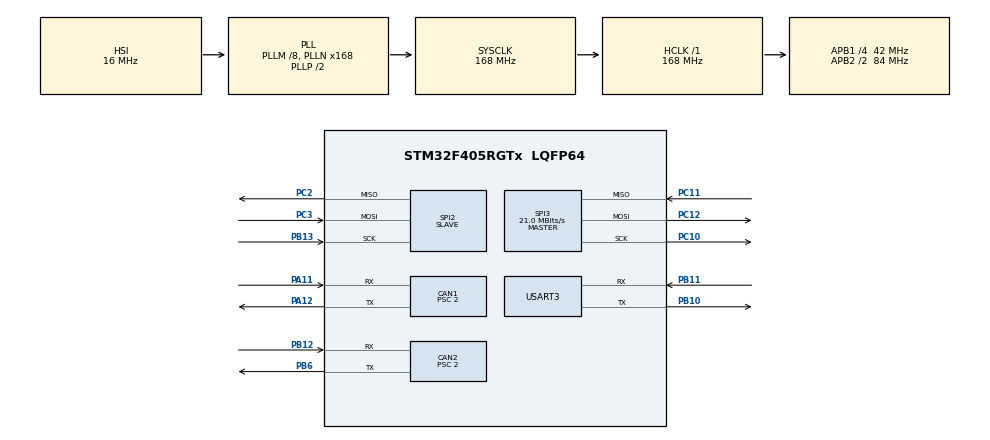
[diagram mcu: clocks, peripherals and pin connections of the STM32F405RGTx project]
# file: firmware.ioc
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CAN1.BS1=CAN_BS1_14TQ
CAN1.BS2=CAN_BS2_6TQ
CAN1.CalculateBaudRate=1000000
CAN1.CalculateTimeBit=1000
CAN1.CalculateTimeQuantum=47.61904761904762
CAN1.Prescaler=2
CAN1.SJW=CAN_SJW_1TQ
CAN2.BS1=CAN_BS1_14TQ
CAN2.BS2=CAN_BS2_6TQ
CAN2.CalculateBaudRate=1000000
CAN2.CalculateTimeBit=1000
CAN2.CalculateTimeQuantum=47.61904761904762
CAN2.Prescaler=2
Dma.Request0=SPI3_RX
Dma.Request1=SPI3_TX
Dma.Request2=USART3_RX
Dma.Request3=USART3_TX
Dma.SPI3_RX.0.Direction=DMA_PERIPH_TO_MEMORY
Dma.SPI3_RX.0.FIFOMode=DMA_FIFOMODE_ENABLE
Dma.SPI3_RX.0.FIFOThreshold=DMA_FIFO_THRESHOLD_FULL
Dma.SPI3_RX.0.Instance=DMA1_Stream0
Dma.SPI3_RX.0.MemBurst=DMA_MBURST_SINGLE
Dma.SPI3_RX.0.MemDataAlignment=DMA_MDATAALIGN_BYTE
Dma.SPI3_RX.0.MemInc=DMA_MINC_ENABLE
Dma.SPI3_RX.0.Mode=DMA_NORMAL
Dma.SPI3_RX.0.PeriphBurst=DMA_PBURST_SINGLE
Dma.SPI3_RX.0.PeriphDataAlignment=DMA_PDATAALIGN_BYTE
Dma.SPI3_RX.0.PeriphInc=DMA_PINC_DISABLE
Dma.SPI3_RX.0.Priority=DMA_PRIORITY_LOW
Dma.SPI3_TX.1.Direction=DMA_MEMORY_TO_PERIPH
Dma.SPI3_TX.1.FIFOMode=DMA_FIFOMODE_DISABLE
Dma.SPI3_TX.1.Instance=DMA1_Stream5
Dma.SPI3_TX.1.MemDataAlignment=DMA_MDATAALIGN_BYTE
Dma.SPI3_TX.1.MemInc=DMA_MINC_ENABLE
Dma.SPI3_TX.1.Mode=DMA_NORMAL
Dma.SPI3_TX.1.PeriphDataAlignment=DMA_PDATAALIGN_BYTE
Dma.SPI3_TX.1.PeriphInc=DMA_PINC_DISABLE
Dma.SPI3_TX.1.Priority=DMA_PRIORITY_LOW
Dma.USART3_RX.2.Direction=DMA_PERIPH_TO_MEMORY
Dma.USART3_RX.2.FIFOMode=DMA_FIFOMODE_DISABLE
Dma.USART3_RX.2.Instance=DMA1_Stream1
Dma.USART3_RX.2.MemDataAlignment=DMA_MDATAALIGN_BYTE
Dma.USART3_RX.2.MemInc=DMA_MINC_ENABLE
Dma.USART3_RX.2.Mode=DMA_NORMAL
Dma.USART3_RX.2.PeriphDataAlignment=DMA_PDATAALIGN_BYTE
Dma.USART3_RX.2.PeriphInc=DMA_PINC_DISABLE
Dma.USART3_RX.2.Priority=DMA_PRIORITY_LOW
Dma.USART3_TX.3.Direction=DMA_MEMORY_TO_PERIPH
Dma.USART3_TX.3.FIFOMode=DMA_FIFOMODE_DISABLE
Dma.USART3_TX.3.Instance=DMA1_Stream3
Dma.USART3_TX.3.MemDataAlignment=DMA_MDATAALIGN_BYTE
Dma.USART3_TX.3.MemInc=DMA_MINC_ENABLE
Dma.USART3_TX.3.Mode=DMA_NORMAL
Dma.USART3_TX.3.PeriphDataAlignment=DMA_PDATAALIGN_BYTE
Dma.USART3_TX.3.PeriphInc=DMA_PINC_DISABLE
Dma.USART3_TX.3.Priority=DMA_PRIORITY_LOW
Mcu.Family=STM32F4
Mcu.Name=STM32F405RGTx
Mcu.Package=LQFP64
NVIC.CAN1_RX0_IRQn=true\:0\:0\:false\:false\:true\:true\:true\:true
NVIC.CAN1_RX1_IRQn=true\:0\:0\:false\:false\:true\:true\:true\:true
NVIC.CAN1_SCE_IRQn=true\:0\:0\:false\:false\:true\:true\:true\:true
NVIC.CAN1_TX_IRQn=true\:0\:0\:false\:false\:true\:true\:true\:true
NVIC.CAN2_RX0_IRQn=true\:0\:0\:false\:false\:true\:true\:true\:true
NVIC.CAN2_RX1_IRQn=true\:0\:0\:false\:false\:true\:true\:true\:true
NVIC.CAN2_SCE_IRQn=true\:0\:0\:false\:false\:true\:true\:true\:true
NVIC.CAN2_TX_IRQn=true\:0\:0\:false\:false\:true\:true\:true\:true
NVIC.DMA1_Stream0_IRQn=true\:0\:0\:false\:false\:true\:false\:true\:true
NVIC.DMA1_Stream1_IRQn=true\:0\:0\:false\:false\:true\:false\:true\:true
NVIC.DMA1_Stream3_IRQn=true\:0\:0\:false\:false\:true\:false\:true\:true
NVIC.DMA1_Stream5_IRQn=true\:0\:0\:false\:false\:true\:false\:true\:true
NVIC.PriorityGroup=NVIC_PRIORITYGROUP_4
NVIC.SPI2_IRQn=true\:0\:0\:false\:false\:true\:true\:true\:true
NVIC.SPI3_IRQn=true\:0\:0\:false\:false\:true\:true\:true\:true
NVIC.USART3_IRQn=true\:0\:0\:false\:false\:true\:true\:true\:true
PA11.Mode=CAN_Activate
PA11.Signal=CAN1_RX
PA12.Mode=CAN_Activate
PA12.Signal=CAN1_TX
PB10.Mode=Asynchronous
PB10.Signal=USART3_TX
PB11.Mode=Asynchronous
PB11.Signal=USART3_RX
PB12.Mode=CAN_Activate
PB12.Signal=CAN2_RX
PB13.Mode=Full_Duplex_Slave
PB13.Signal=SPI2_SCK
PB6.Mode=CAN_Activate
PB6.Signal=CAN2_TX
PC10.Mode=Full_Duplex_Master
PC10.Signal=SPI3_SCK
PC11.Mode=Full_Duplex_Master
PC11.Signal=SPI3_MISO
PC12.Mode=Full_Duplex_Master
PC12.Signal=SPI3_MOSI
PC2.Mode=Full_Duplex_Slave
PC2.Signal=SPI2_MISO
PC3.Mode=Full_Duplex_Slave
PC3.Signal=SPI2_MOSI
ProjectManager.HeapSize=0x200
ProjectManager.StackSize=0x400
ProjectManager.TargetToolchain=CMake
RCC.48MHZClocksFreq_Value=84000000
RCC.AHBFreq_Value=168000000
RCC.APB1CLKDivider=RCC_HCLK_DIV4
RCC.APB1Freq_Value=42000000
RCC.APB1TimFreq_Value=84000000
RCC.APB2CLKDivider=RCC_HCLK_DIV2
RCC.APB2Freq_Value=84000000
RCC.APB2TimFreq_Value=168000000
RCC.CortexFreq_Value=168000000
RCC.HCLKFreq_Value=168000000
RCC.HSE_VALUE=25000000
RCC.HSI_VALUE=16000000
RCC.LSE_VALUE=32768
RCC.PLLM=8
RCC.PLLN=168
RCC.SYSCLKFreq_VALUE=168000000
RCC.SYSCLKSource=RCC_SYSCLKSOURCE_PLLCLK
RCC.VCOOutputFreq_Value=336000000
SPI2.Direction=SPI_DIRECTION_2LINES
SPI2.Mode=SPI_MODE_SLAVE
SPI2.VirtualType=VM_SLAVE
SPI3.BaudRatePrescaler=SPI_BAUDRATEPRESCALER_2
SPI3.CalculateBaudRate=21.0 MBits/s
SPI3.DataSize=SPI_DATASIZE_8BIT
SPI3.Direction=SPI_DIRECTION_2LINES
SPI3.Mode=SPI_MODE_MASTER
SPI3.VirtualType=VM_MASTER
USART3.VirtualMode=VM_ASYNC
board=custom

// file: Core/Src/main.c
/* USER CODE BEGIN Header */
/**
  ******************************************************************************
  * @file           : main.c
  * @brief          : Main program body
  ******************************************************************************
  * @attention
  *
  * Copyright (c) 2025 STMicroelectronics.
  * All rights reserved.
  *
  * This software is licensed under terms that can be found in the LICENSE file
  * in the root directory of this software component.
  * If no LICENSE file comes with this software, it is provided AS-IS.
  *
  ******************************************************************************
  */
/* USER CODE END Header */
#include "main.h"
#include "../Inc/can.h"
#include "../Inc/time.h"

CAN_HandleTypeDef hcan1;
CAN_HandleTypeDef hcan2;

SPI_HandleTypeDef hspi2;
SPI_HandleTypeDef hspi3;
DMA_HandleTypeDef hdma_spi3_rx;
DMA_HandleTypeDef hdma_spi3_tx;

UART_HandleTypeDef huart3;
DMA_HandleTypeDef hdma_usart3_rx;
DMA_HandleTypeDef hdma_usart3_tx;

void SystemClock_Config(void);
static void MX_GPIO_Init(void);
static void MX_DMA_Init(void);
static void MX_CAN1_Init(void);
static void MX_CAN2_Init(void);
static void MX_SPI2_Init(void);
static void MX_SPI3_Init(void);
static void MX_USART3_UART_Init(void);

/* USER CODE BEGIN 0 */

int main(void)
{

  /* MCU Configuration--------------------------------------------------------*/

  /* Reset of all peripherals, Initializes the Flash interface and the Systick. */
  HAL_Init();

  /* USER CODE BEGIN Init */
  CAN_motor_init();
  /* USER CODE END Init */

  /* Configure the system clock */
  SystemClock_Config();

  /* Initialize all configured peripherals */
  MX_GPIO_Init();
  MX_DMA_Init();
  MX_CAN1_Init();
  MX_CAN2_Init();
  MX_SPI2_Init();
  MX_SPI3_Init();
  MX_USART3_UART_Init();
  /* USER CODE BEGIN 2 */
  HAL_UART_MspInit(&huart3);
  __HAL_UART_ENABLE_IT(&huart3, UART_IT_IDLE);
  /* USER CODE END 2 */
  /* Infinite loop */
  /* USER CODE BEGIN WHILE */
  typedef struct
  {
    float can_task;
    float posforce_task;
    float robot_est_task;
    float ahrs_task;
    float vmc_task;
    float link_task;
    float nav_task;
    float system_task;
  }_SYSTEM_DT;
  float leg_dt[100];
  _SYSTEM_DT system_dt;
  while (1)
  {
    /* USER CODE END WHILE */
    /* USER CODE BEGIN 3 */
    system_dt.can_task = leg_dt[0] = Get_Cycle_T(0);
    if(leg_dt[0]>0.00225)
      can_rx_over[4]++;

    CAN_motor_sm(leg_dt[0]);
  }
  /* USER CODE END 3 */
}

void SystemClock_Config(void)
{
  RCC_OscInitTypeDef RCC_OscInitStruct = {0};
  RCC_ClkInitTypeDef RCC_ClkInitStruct = {0};

  /** Configure the main internal regulator output voltage
  */
  __HAL_RCC_PWR_CLK_ENABLE();
  __HAL_PWR_VOLTAGESCALING_CONFIG(PWR_REGULATOR_VOLTAGE_SCALE1);

  /** Initializes the RCC Oscillators according to the specified parameters
  * in the RCC_OscInitTypeDef structure.
  */
  RCC_OscInitStruct.OscillatorType = RCC_OSCILLATORTYPE_HSI;
  RCC_OscInitStruct.HSIState = RCC_HSI_ON;
  RCC_OscInitStruct.HSICalibrationValue = RCC_HSICALIBRATION_DEFAULT;
  RCC_OscInitStruct.PLL.PLLState = RCC_PLL_ON;
  RCC_OscInitStruct.PLL.PLLSource = RCC_PLLSOURCE_HSI;
  RCC_OscInitStruct.PLL.PLLM = 8;
  RCC_OscInitStruct.PLL.PLLN = 168;
  RCC_OscInitStruct.PLL.PLLP = RCC_PLLP_DIV2;
  RCC_OscInitStruct.PLL.PLLQ = 4;
  if (HAL_RCC_OscConfig(&RCC_OscInitStruct) != HAL_OK)
  {
    Error_Handler();
  }

  /** Initializes the CPU, AHB and APB buses clocks
  */
  RCC_ClkInitStruct.ClockType = RCC_CLOCKTYPE_HCLK|RCC_CLOCKTYPE_SYSCLK
                              |RCC_CLOCKTYPE_PCLK1|RCC_CLOCKTYPE_PCLK2;
  RCC_ClkInitStruct.SYSCLKSource = RCC_SYSCLKSOURCE_PLLCLK;
  RCC_ClkInitStruct.AHBCLKDivider = RCC_SYSCLK_DIV1;
  RCC_ClkInitStruct.APB1CLKDivider = RCC_HCLK_DIV4;
  RCC_ClkInitStruct.APB2CLKDivider = RCC_HCLK_DIV2;

  if (HAL_RCC_ClockConfig(&RCC_ClkInitStruct, FLASH_LATENCY_5) != HAL_OK)
  {
    Error_Handler();
  }
}

static void MX_CAN1_Init(void)
{

  hcan1.Instance = CAN1;
  hcan1.Init.Prescaler = 2;
  hcan1.Init.Mode = CAN_MODE_NORMAL;
  hcan1.Init.SyncJumpWidth = CAN_SJW_1TQ;
  hcan1.Init.TimeSeg1 = CAN_BS1_14TQ;
  hcan1.Init.TimeSeg2 = CAN_BS2_6TQ;
  hcan1.Init.TimeTriggeredMode = DISABLE;
  hcan1.Init.AutoBusOff = DISABLE;
  hcan1.Init.AutoWakeUp = DISABLE;
  hcan1.Init.AutoRetransmission = DISABLE;
  hcan1.Init.ReceiveFifoLocked = DISABLE;
  hcan1.Init.TransmitFifoPriority = DISABLE;
  if (HAL_CAN_Init(&hcan1) != HAL_OK)
  {
    Error_Handler();
  }

}

static void MX_CAN2_Init(void)
{

  hcan2.Instance = CAN2;
  hcan2.Init.Prescaler = 2;
  hcan2.Init.Mode = CAN_MODE_NORMAL;
  hcan2.Init.SyncJumpWidth = CAN_SJW_1TQ;
  hcan2.Init.TimeSeg1 = CAN_BS1_14TQ;
  hcan2.Init.TimeSeg2 = CAN_BS2_6TQ;
  hcan2.Init.TimeTriggeredMode = DISABLE;
  hcan2.Init.AutoBusOff = DISABLE;
  hcan2.Init.AutoWakeUp = DISABLE;
  hcan2.Init.AutoRetransmission = DISABLE;
  hcan2.Init.ReceiveFifoLocked = DISABLE;
  hcan2.Init.TransmitFifoPriority = DISABLE;
  if (HAL_CAN_Init(&hcan2) != HAL_OK)
  {
    Error_Handler();
  }

}

static void MX_SPI2_Init(void)
{

  /* SPI2 parameter configuration*/
  hspi2.Instance = SPI2;
  hspi2.Init.Mode = SPI_MODE_SLAVE;
  hspi2.Init.Direction = SPI_DIRECTION_2LINES;
  hspi2.Init.DataSize = SPI_DATASIZE_8BIT;
  hspi2.Init.CLKPolarity = SPI_POLARITY_LOW;
  hspi2.Init.CLKPhase = SPI_PHASE_1EDGE;
  hspi2.Init.NSS = SPI_NSS_SOFT;
  hspi2.Init.FirstBit = SPI_FIRSTBIT_MSB;
  hspi2.Init.TIMode = SPI_TIMODE_DISABLE;
  hspi2.Init.CRCCalculation = SPI_CRCCALCULATION_DISABLE;
  hspi2.Init.CRCPolynomial = 10;
  if (HAL_SPI_Init(&hspi2) != HAL_OK)
  {
    Error_Handler();
  }

}

static void MX_SPI3_Init(void)
{

  /* SPI3 parameter configuration*/
  hspi3.Instance = SPI3;
  hspi3.Init.Mode = SPI_MODE_MASTER;
  hspi3.Init.Direction = SPI_DIRECTION_2LINES;
  hspi3.Init.DataSize = SPI_DATASIZE_8BIT;
  hspi3.Init.CLKPolarity = SPI_POLARITY_LOW;
  hspi3.Init.CLKPhase = SPI_PHASE_1EDGE;
  hspi3.Init.NSS = SPI_NSS_SOFT;
  hspi3.Init.BaudRatePrescaler = SPI_BAUDRATEPRESCALER_2;
  hspi3.Init.FirstBit = SPI_FIRSTBIT_MSB;
  hspi3.Init.TIMode = SPI_TIMODE_DISABLE;
  hspi3.Init.CRCCalculation = SPI_CRCCALCULATION_DISABLE;
  hspi3.Init.CRCPolynomial = 10;
  if (HAL_SPI_Init(&hspi3) != HAL_OK)
  {
    Error_Handler();
  }

}

static void MX_USART3_UART_Init(void)
{

  huart3.Instance = USART3;
  huart3.Init.BaudRate = 115200;
  huart3.Init.WordLength = UART_WORDLENGTH_8B;
  huart3.Init.StopBits = UART_STOPBITS_1;
  huart3.Init.Parity = UART_PARITY_NONE;
  huart3.Init.Mode = UART_MODE_TX_RX;
  huart3.Init.HwFlowCtl = UART_HWCONTROL_NONE;
  huart3.Init.OverSampling = UART_OVERSAMPLING_16;
  if (HAL_UART_Init(&huart3) != HAL_OK)
  {
    Error_Handler();
  }

}

static void MX_DMA_Init(void)
{

  /* DMA controller clock enable */
  __HAL_RCC_DMA1_CLK_ENABLE();

  /* DMA interrupt init */
  /* DMA1_Stream0_IRQn interrupt configuration */
  HAL_NVIC_SetPriority(DMA1_Stream0_IRQn, 0, 0);
  HAL_NVIC_EnableIRQ(DMA1_Stream0_IRQn);
  /* DMA1_Stream1_IRQn interrupt configuration */
  HAL_NVIC_SetPriority(DMA1_Stream1_IRQn, 0, 0);
  HAL_NVIC_EnableIRQ(DMA1_Stream1_IRQn);
  /* DMA1_Stream3_IRQn interrupt configuration */
  HAL_NVIC_SetPriority(DMA1_Stream3_IRQn, 0, 0);
  HAL_NVIC_EnableIRQ(DMA1_Stream3_IRQn);
  /* DMA1_Stream5_IRQn interrupt configuration */
  HAL_NVIC_SetPriority(DMA1_Stream5_IRQn, 0, 0);
  HAL_NVIC_EnableIRQ(DMA1_Stream5_IRQn);

}

static void MX_GPIO_Init(void)
{

  /* GPIO Ports Clock Enable */
  __HAL_RCC_GPIOC_CLK_ENABLE();
  __HAL_RCC_GPIOB_CLK_ENABLE();
  __HAL_RCC_GPIOA_CLK_ENABLE();

}

void Error_Handler(void)
{
  __disable_irq();
  while (1)
  {
  }
}
